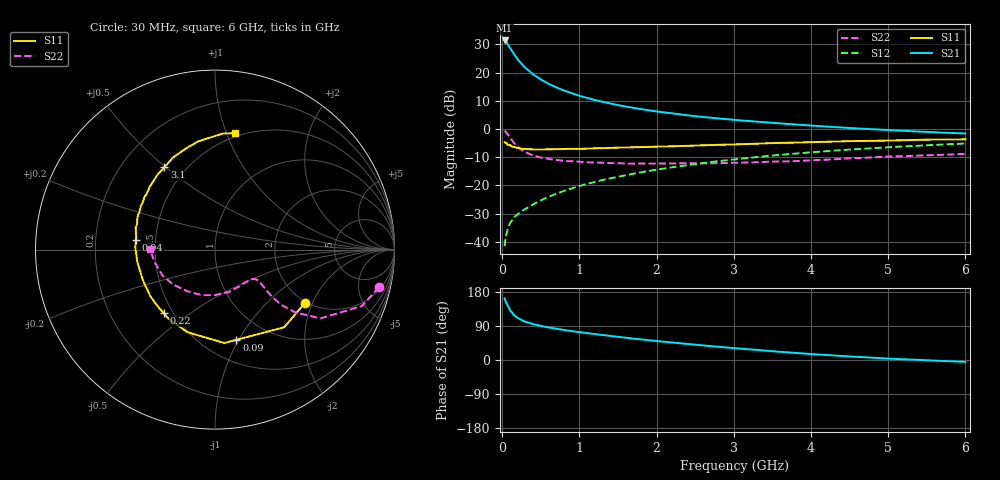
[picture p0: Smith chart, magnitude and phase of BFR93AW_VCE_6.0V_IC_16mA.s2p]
! Infineon Technologies  Discrete & RF Semiconductors
! BFR93AW
! VCE =  6.0 V,  IC =  16 mA
! Common Emitter S-Parameters:  Nov 2015
# GHz  S  MA  R  50
!  f  S11  S21  S12  S22
! GHz  MAG  ANG  MAG  ANG  MAG  ANG  MAG  ANG
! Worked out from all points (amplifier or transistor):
!   206 points, 30 MHz to 6 GHz, reference 50 ohm
!   highest |S21| = 31.4 dB at 30 MHz (marker M1)
!   |S21| within 3 dB of that: start of sweep to 109.6 MHz
!   unconditionally stable (mu >= 1): 621.5 MHz to 2.175 GHz
!   at 200 MHz: K = 0.63, MSG = 27.5 dB, |S12| = -30.2 dB
!   at 1.56 GHz: K = 1.05, MAG = 11.1 dB, |S12| = -16.6 dB
!   at 6 GHz: K = 0.89, MSG = 1.8 dB, |S12| = -5.1 dB
!   S11 on the Smith chart (normalised r, x): 30 MHz: 1.98, -1.77; 90 MHz: 0.71, -0.98; 220 MHz: 0.45, -0.40; 940 MHz: 0.39, +0.05; 3.1 GHz: 0.38, +0.49; 6 GHz: 0.47, +1.07
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0.03  0.5833 -30.4  37.17 162.3  0.0084 75.2  0.9379 -12.9
0.05  0.5794 -48.3  35.17 150.9  0.0132 70.2  0.8768 -21.0
0.09  0.5167 -76.7  28.78 135.8  0.0198 62.7  0.734 -30.2
0.1  0.523 -84.3  27.58 131.1  0.0215 61.6  0.702 -33.1
0.15  0.4851 -108.6  21.39 118.8  0.0271 58.1  0.5691 -38.0
0.2  0.4634 -124.0  17.21 110.9  0.0309 57.5  0.485 -39.7
0.22  0.4552 -128.7  16 108.9  0.0325 58.0  0.4612 -39.7
0.26  0.4472 -137.7  13.8 104.4  0.0356 58.9  0.4182 -39.6
0.3  0.444 -144.4  12.11 100.8  0.0384 59.8  0.3889 -39.1
0.4  0.4364 -156.8  9.281 94.5  0.0463 62.1  0.3402 -37.3
0.5  0.4346 -165.4  7.537 89.7  0.0545 65.0  0.3111 -36.2
0.6  0.4382 -171.4  6.325 85.8  0.063 66.3  0.2952 -35.6
0.7  0.439 -176.9  5.471 82.3  0.0711 67.6  0.2846 -35.9
0.8  0.4444 178.5  4.802 79.1  0.0802 68.3  0.2722 -36.9
0.94  0.4446 173.0  4.127 75.1  0.0926 69.1  0.2667 -38.0
1.04  0.4473 169.5  3.746 72.4  0.1015 69.2  0.261 -39.6
1.5  0.4692 156.5  2.652 61.0  0.1429 68.6  0.2484 -49.1
2.02  0.4892 143.8  2.033 49.6  0.1926 66.2  0.2449 -62.8
3.1  0.5383 121.6  1.419 29.8  0.2988 57.7  0.254 -93.0
4.1  0.5899 104.7  1.129 14.4  0.3964 47.8  0.2823 -127.7
5.1  0.6292 90.9  0.944 2.8  0.4839 36.7  0.3283 -156.8
6  0.657 80.4  0.834 -4.9  0.5542 27.0  0.3634 179.4
